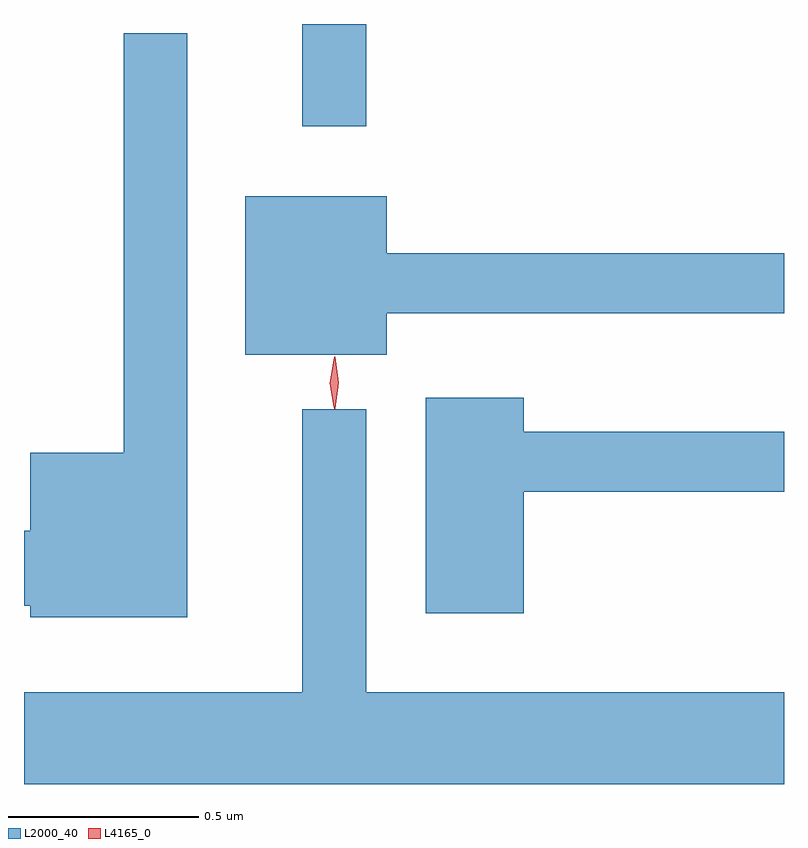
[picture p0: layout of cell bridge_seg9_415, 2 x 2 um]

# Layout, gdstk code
import gdstk
lib = gdstk.Library(unit=1e-6, precision=1e-09)
def R(c, l, rs):  # rectangles x0, y0, x1, y1
    for r in rs: c.add(gdstk.rectangle(r[:2], r[2:], *l))
def P(c, l, *ps):  # polygons
    for p in ps: c.add(gdstk.Polygon(p, *l))
L2000_40 = (2000, 40)
L4165_0 = (4165, 0)

bridge_seg9_415 = lib.new_cell('bridge_seg9_415')
R(bridge_seg9_415, L2000_40, [(899.771,1969.153,899.939,1969.422)])
P(bridge_seg9_415, L2000_40, [(899.469,1969.398),(899.301,1969.398),(899.301,1968.294),(899.056,1968.294),(899.056,1968.089),(899.039,1968.089),(899.039,1967.891),(899.056,1967.891),(899.056,1967.861),(899.469,1967.861)],
  [(899.994,1968.661),(901.039,1968.661),(901.039,1968.819),(899.994,1968.819),(899.994,1968.969),(899.621,1968.969),(899.621,1968.551),(899.994,1968.551)],
  [(900.354,1968.191),(901.039,1968.191),(901.039,1968.349),(900.354,1968.349),(900.354,1968.439),(900.096,1968.439),(900.096,1967.871),(900.354,1967.871)],
  [(901.039,1967.664),(899.939,1967.664),(899.939,1968.408),(899.771,1968.408),(899.771,1967.664),(899.039,1967.664),(899.039,1967.422),(901.039,1967.422)])
P(bridge_seg9_415, L4165_0, [(899.854,1968.413),(899.844,1968.477),(899.854,1968.54),(899.854,1968.541),(899.854,1968.54),(899.864,1968.477),(899.855,1968.413),(899.855,1968.413)],
  [(899.857,1968.409),(899.856,1968.41),(899.847,1968.478),(899.856,1968.546),(899.857,1968.546),(899.858,1968.546),(899.867,1968.478),(899.858,1968.41)])

lib.write_gds('bridge_seg9_415.gds')
